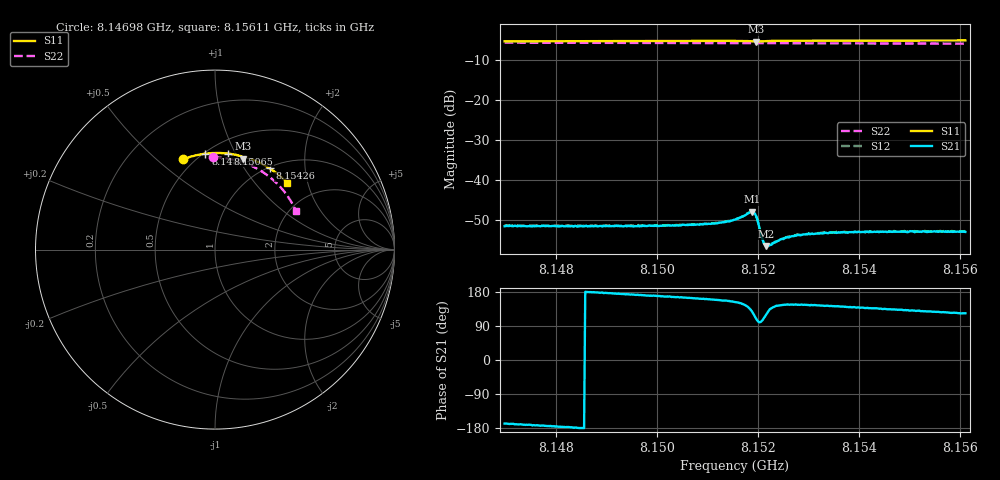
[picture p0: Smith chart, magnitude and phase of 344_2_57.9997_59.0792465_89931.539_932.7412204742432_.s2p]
#  HZ  S  RI  R  50.00
! Rohde & Schwarz Vector Network Analyzer
! Rohde-Schwarz,ZNB20-2Port,1311601062101988,3.16
! Created: UTC 3/21/2024, 1:05:44 AM
! freq[Hz]  re:S11  im:S11  re:S21  im:S21  re:S12  im:S12  re:S22  im:S22
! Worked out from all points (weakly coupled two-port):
!   401 points, 8.14698 GHz to 8.15611 GHz, reference 50 ohm
!   highest |S21| = -48.01 dB at 8.15189 GHz (marker M1); lowest = -56.6 dB at 8.15216 GHz (marker M2)
!   lowest |S11| = -5.5 dB at 8.15196 GHz (marker M3), VSWR 3.26, Z = 37.3 + j52.5 ohm
!   |S11| at or under -10 dB: nowhere
!   |S22| runs from -6.0 to -5.8 dB; largest |S21 - S12| = 0.00011
!   S11 on the Smith chart (normalised r, x): 8.14698 GHz: 0.44, +0.61; 8.14883 GHz: 0.51, +0.77; 8.15065 GHz: 0.62, +0.94; 8.15426 GHz: 1.02, +1.31; 8.15611 GHz: 1.41, +1.50
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8.146976e9  -0.1786 0.5029  -0.00256 -0.000553  -0.00264 -0.000511  -0.0115 0.5133
8.148507e9  -0.0756 0.5313  -0.00264 -1.73e-05  -0.00263 6.83e-06  0.0878 0.5041
8.148827e9  -0.0536 0.5344  -0.0026 8.62e-05  -0.00265 0.000119  0.1081 0.4998
8.150037e9  0.0307 0.5383  -0.00258 0.000513  -0.00262 0.000582  0.1825 0.4759
8.150654e9  0.0737 0.5351  -0.00262 0.000771  -0.00261 0.000828  0.2186 0.4594
8.15118e9  0.1103 0.5296  -0.00265 0.00104  -0.00267 0.00108  0.2481 0.4434
8.151545e9  0.1362 0.5233  -0.00283 0.00143  -0.00282 0.00147  0.2678 0.431
8.151842e9  0.1573 0.5124  -0.00276 0.00278  -0.00274 0.00283  0.2834 0.4202
8.151888e9  0.159 0.5094  -0.00238 0.00318  -0.00236 0.00325  0.2857 0.4184
8.151934e9  0.159 0.5068  -0.00168 0.00341  -0.00167 0.00344  0.2879 0.4166
8.151956e9  0.1585 0.5062  -0.00127 0.00336  -0.00124 0.00339  0.289 0.4157
8.152002e9  0.158 0.5071  -0.000619 0.00288  -0.00056 0.00289  0.2913 0.4143
8.152093e9  0.1624 0.5107  -0.000475 0.00171  -0.000465 0.00172  0.2959 0.4109
8.152116e9  0.164 0.5113  -0.000555 0.00151  -0.000545 0.00154  0.2971 0.4101
8.152162e9  0.1677 0.5117  -0.00073 0.00129  -0.000706 0.0013  0.2995 0.4084
8.152208e9  0.1715 0.5115  -0.000939 0.00115  -0.000928 0.00119  0.3018 0.4065
8.152436e9  0.1888 0.5078  -0.00144 0.00104  -0.00145 0.00106  0.3133 0.3975
8.152619e9  0.2015 0.504  -0.00157 0.00107  -0.00162 0.00109  0.322 0.39
8.153076e9  0.2318 0.4919  -0.00172 0.00122  -0.00173 0.00123  0.3433 0.3704
8.154264e9  0.3043 0.4528  -0.00161 0.00153  -0.00162 0.00154  0.3926 0.3144
8.154606e9  0.3238 0.4397  -0.00155 0.0016  -0.00157 0.00163  0.4053 0.2971
8.156114e9  0.4023 0.3719  -0.00122 0.00186  -0.00121 0.00191  0.451 0.2153
